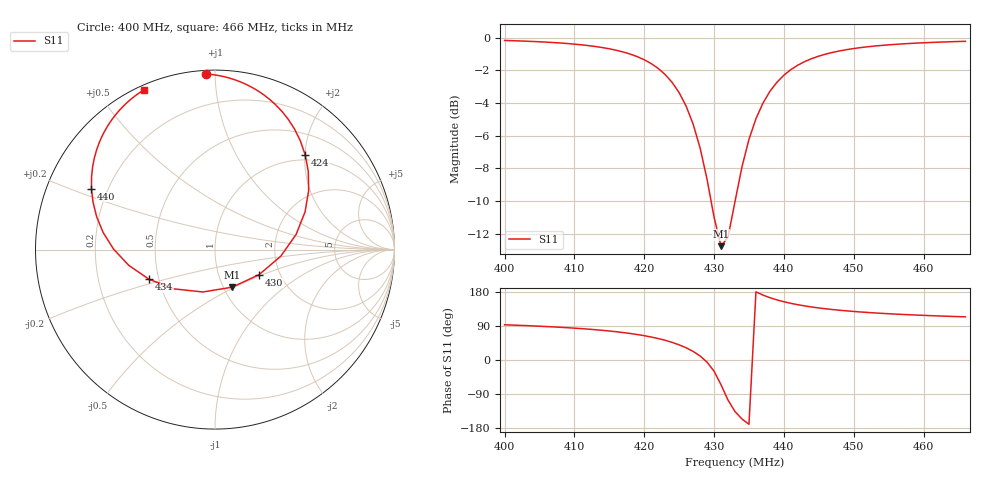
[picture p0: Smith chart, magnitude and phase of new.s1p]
! S1P file generated from impedance data
! Reference impedance Z0 = 50 Ohms
# Hz S RI R 50
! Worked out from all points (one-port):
!   67 points, 400 MHz to 466 MHz, reference 50 ohm
!   lowest |S11| = -12.8 dB at 431 MHz (marker M1), VSWR 1.60, Z = 55 - j24.3 ohm
!   |S11| at or under -10 dB: 429.6 MHz to 433 MHz (3.439 MHz wide, 0.797 % of centre)
!   S11 on the Smith chart (normalised r, x): 400 MHz: 0.02, +0.95; 424 MHz: 0.89, +2.01; 430 MHz: 1.56, -0.47; 434 MHz: 0.44, -0.17; 440 MHz: 0.14, +0.23; 466 MHz: 0.02, +0.65
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4e8  -0.051 0.9787
4.09e8  0.0803 0.9556
4.13e8  0.1645 0.9246
4.17e8  0.2736 0.861
4.19e8  0.3386 0.8062
4.21e8  0.4083 0.7256
4.23e8  0.4752 0.6069
4.24e8  0.5022 0.5288
4.25e8  0.5197 0.4364
4.26e8  0.5219 0.3294
4.27e8  0.5018 0.2102
4.28e8  0.4519 0.0846
4.29e8  0.3666 -0.0368
4.3e8  0.2456 -0.1396
4.31e8  0.0961 -0.2093
4.32e8  -0.0672 -0.2361
4.33e8  -0.2265 -0.2191
4.34e8  -0.3671 -0.1656
4.35e8  -0.4805 -0.0877
4.36e8  -0.5649 0.0023
4.37e8  -0.623 0.0949
4.38e8  -0.6597 0.1838
4.4e8  -0.6881 0.3394
4.42e8  -0.6818 0.462
4.46e8  -0.6309 0.6283
4.5e8  -0.5713 0.7285
4.58e8  -0.4704 0.8362
4.66e8  -0.3948 0.8906
